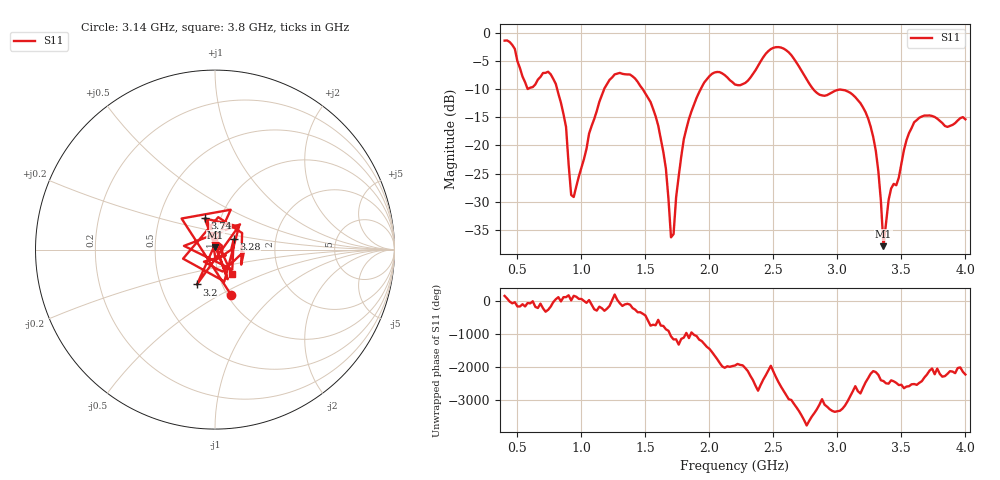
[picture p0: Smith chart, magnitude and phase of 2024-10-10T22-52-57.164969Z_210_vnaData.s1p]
! Created with skrf (http://scikit-rf.org).
# Hz S RI R 50.0
!freq ReS11 ImS11
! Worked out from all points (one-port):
!   181 points, 400 MHz to 4 GHz, reference 50 ohm
!   lowest |S11| = -38.0 dB at 3.36 GHz (marker M1), VSWR 1.03, Z = 50.1 + j1.26 ohm
!   |S11| at or under -10 dB: 811.3 MHz to 1.177 GHz (365.4 MHz wide, 36.8 % of centre); 1.481 GHz to 1.931 GHz (450.2 MHz wide, 26.4 % of centre); 2.813 GHz to end of sweep
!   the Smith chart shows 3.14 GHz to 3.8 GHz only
!   S11 on the Smith chart (normalised r, x): 3.14 GHz: 1.04, -0.57; 3.2 GHz: 0.76, -0.31; 3.28 GHz: 1.22, +0.14; 3.74 GHz: 0.84, +0.30; 3.8 GHz: 1.16, -0.33
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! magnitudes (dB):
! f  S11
! 400 MHz  -1.3
! 580 MHz  -9.9
! 760 MHz  -7.3
! 860 MHz  -14.4
! 940 MHz  -29.2
! 1.14 GHz  -12.2
! 1.3 GHz  -7.0
! 1.58 GHz  -14.8
! 1.66 GHz  -24.1
! 1.7 GHz  -36.4
! 1.76 GHz  -25.5
! 1.84 GHz  -15.3
! 1.96 GHz  -8.7
! 2.2 GHz  -9.1
! 2.5 GHz  -2.6
! 2.66 GHz  -4.5
! 2.86 GHz  -10.9
! 3.1 GHz  -10.6
! 3.14 GHz  -11.4
! 3.2 GHz  -13.2
! 3.28 GHz  -18.5
! 3.32 GHz  -24.6
! 3.36 GHz  -38.0
! 3.42 GHz  -27.7
! 3.56 GHz  -17.8
! 3.74 GHz  -14.7
! 3.8 GHz  -15.6
! 4 GHz  -15.3
